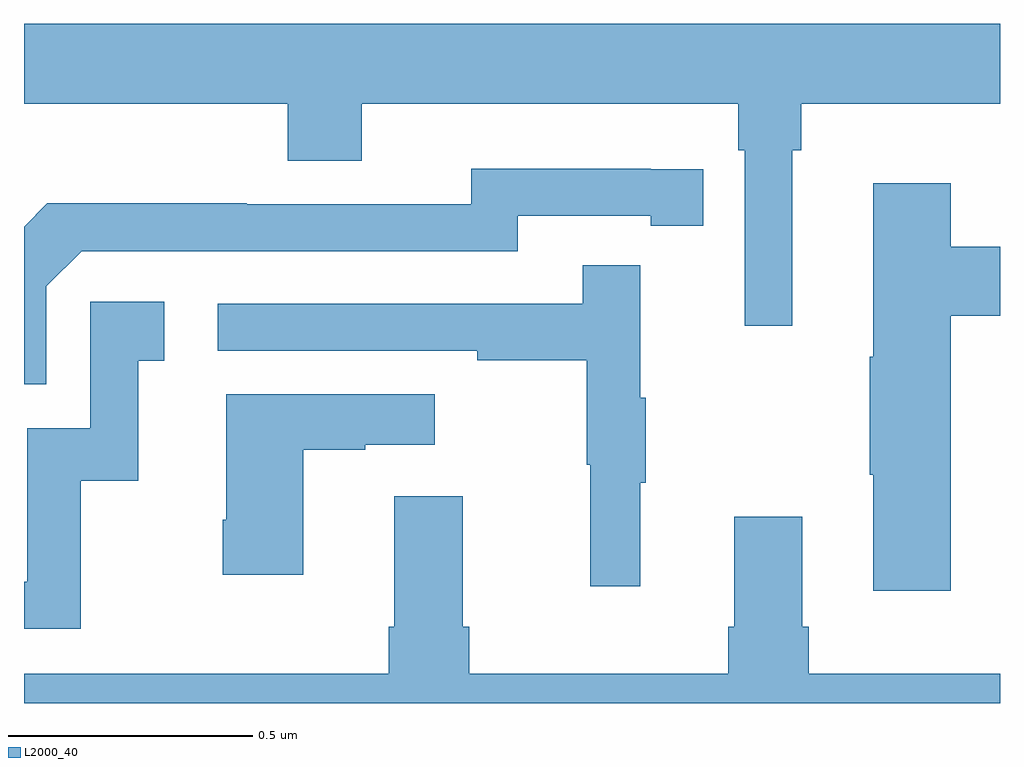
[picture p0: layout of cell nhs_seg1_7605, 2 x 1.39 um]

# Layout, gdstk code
import gdstk
lib = gdstk.Library(unit=1e-6, precision=1e-09)
def P(c, l, *ps):  # polygons
    for p in ps: c.add(gdstk.Polygon(p, *l))
L2000_40 = (2000, 40)

nhs_seg1_7605 = lib.new_cell('nhs_seg1_7605')
P(nhs_seg1_7605, L2000_40, [(207.574,522.332),(207.593,522.332),(207.593,522.428),(208,522.428),(208,522.592),(206,522.592),(206,522.428),(206.54,522.428),(206.54,522.311),(206.692,522.311),(206.692,522.428),(207.464,522.428),(207.464,522.332),(207.477,522.332),(207.477,521.973),(207.574,521.973)],
  [(206.046,522.054),(206.118,522.126),(207.012,522.126),(207.012,522.198),(207.284,522.198),(207.284,522.178),(207.392,522.178),(207.392,522.294),(207.284,522.294),(207.284,522.295),(206.916,522.295),(206.916,522.222),(206.456,522.222),(206.456,522.224),(206.048,522.224),(206,522.176),(206,521.853),(206.046,521.853)],
  [(207.899,521.993),(208,521.993),(208,522.135),(207.899,522.135),(207.899,522.265),(207.74,522.265),(207.74,521.909),(207.733,521.909),(207.733,521.668),(207.74,521.668),(207.74,521.43),(207.899,521.43)],
  [(207.263,521.651),(207.274,521.651),(207.274,521.825),(207.263,521.825),(207.263,522.097),(207.145,522.097),(207.145,522.018),(206.397,522.018),(206.397,521.922),(206.929,521.922),(206.929,521.902),(207.153,521.902),(207.153,521.688),(207.16,521.688),(207.16,521.439),(207.263,521.439)],
  [(206.116,521.655),(206.234,521.655),(206.234,521.901),(206.287,521.901),(206.287,522.022),(206.136,522.022),(206.136,521.763),(206.007,521.763),(206.007,521.448),(206,521.448),(206,521.352),(206.116,521.352)],
  [(206.572,521.719),(206.699,521.719),(206.699,521.729),(206.842,521.729),(206.842,521.833),(206.414,521.833),(206.414,521.575),(206.407,521.575),(206.407,521.463),(206.572,521.463)],
  [(208,521.26),(207.608,521.26),(207.608,521.356),(207.595,521.356),(207.595,521.581),(207.455,521.581),(207.455,521.356),(207.443,521.356),(207.443,521.26),(206.912,521.26),(206.912,521.356),(206.899,521.356),(206.899,521.623),(206.759,521.623),(206.759,521.356),(206.747,521.356),(206.747,521.26),(206,521.26),(206,521.199),(208,521.199)])

lib.write_gds('nhs_seg1_7605.gds')
